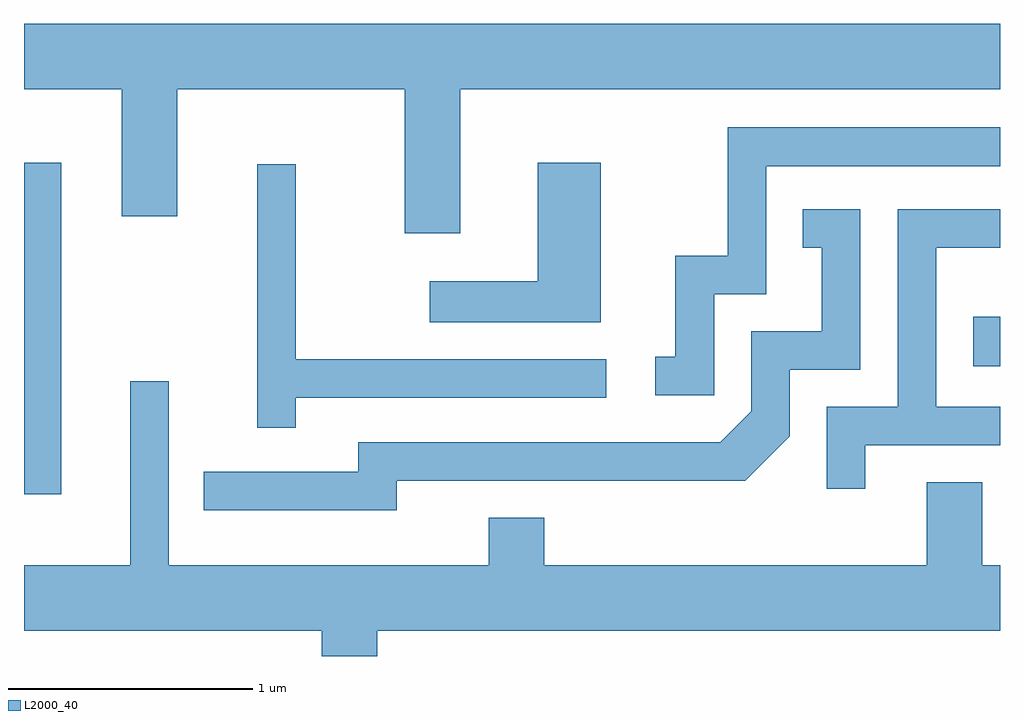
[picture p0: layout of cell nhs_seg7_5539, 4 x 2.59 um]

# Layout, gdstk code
import gdstk
lib = gdstk.Library(unit=1e-6, precision=1e-09)
def R(c, l, rs):  # rectangles x0, y0, x1, y1
    for r in rs: c.add(gdstk.rectangle(r[:2], r[2:], *l))
def P(c, l, *ps):  # polygons
    for p in ps: c.add(gdstk.Polygon(p, *l))
L2000_40 = (2000, 40)

nhs_seg7_5539 = lib.new_cell('nhs_seg7_5539')
R(nhs_seg7_5539, L2000_40, [(355.611,1674.916,355.764,1676.274), (359.501,1675.441,359.611,1675.644)])
P(nhs_seg7_5539, L2000_40, [(357.399,1676.576),(359.611,1676.576),(359.611,1676.844),(355.611,1676.844),(355.611,1676.576),(356.011,1676.576),(356.011,1676.056),(356.239,1676.056),(356.239,1676.576),(357.171,1676.576),(357.171,1675.986),(357.399,1675.986)],
  [(358.439,1675.736),(358.654,1675.736),(358.654,1676.261),(359.611,1676.261),(359.611,1676.419),(358.496,1676.419),(358.496,1675.894),(358.281,1675.894),(358.281,1675.479),(358.198,1675.479),(358.198,1675.321),(358.439,1675.321)],
  [(357.974,1676.274),(357.716,1676.274),(357.716,1675.789),(357.273,1675.789),(357.273,1675.621),(357.974,1675.621)],
  [(356.724,1675.311),(357.998,1675.311),(357.998,1675.469),(356.724,1675.469),(356.724,1676.268),(356.566,1676.268),(356.566,1675.188),(356.724,1675.188)],
  [(357.139,1674.971),(358.567,1674.971),(358.749,1675.154),(358.749,1675.426),(359.039,1675.426),(359.039,1676.084),(358.803,1676.084),(358.803,1675.926),(358.881,1675.926),(358.881,1675.584),(358.591,1675.584),(358.591,1675.257),(358.464,1675.129),(356.981,1675.129),(356.981,1675.009),(356.348,1675.009),(356.348,1674.851),(357.139,1674.851)],
  [(359.059,1675.116),(359.611,1675.116),(359.611,1675.274),(359.349,1675.274),(359.349,1675.926),(359.611,1675.926),(359.611,1676.084),(359.191,1676.084),(359.191,1675.274),(358.901,1675.274),(358.901,1674.938),(359.059,1674.938)],
  [(357.059,1674.356),(359.611,1674.356),(359.611,1674.624),(359.539,1674.624),(359.539,1674.964),(359.311,1674.964),(359.311,1674.624),(357.744,1674.624),(357.744,1674.819),(357.516,1674.819),(357.516,1674.624),(356.204,1674.624),(356.204,1675.378),(356.046,1675.378),(356.046,1674.624),(355.611,1674.624),(355.611,1674.356),(356.831,1674.356),(356.831,1674.252),(357.059,1674.252)])

lib.write_gds('nhs_seg7_5539.gds')
